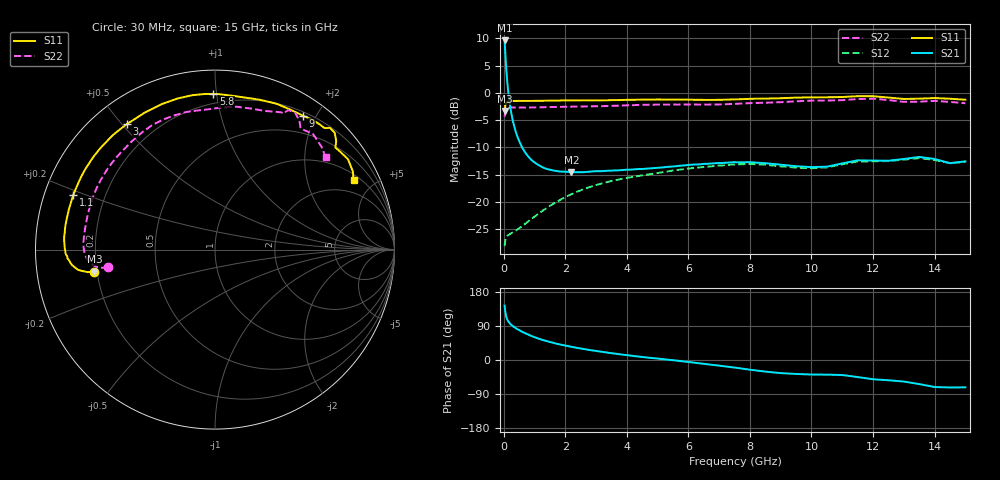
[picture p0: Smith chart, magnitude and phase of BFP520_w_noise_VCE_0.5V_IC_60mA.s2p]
! Infineon Technologies  Discrete & RF Semiconductors
! BFP520
! VCE =  0.5 V,  IC =  60 mA
! Common Emitter S-Parameters:  Oct 2015
# GHz  S  MA  R  50
!  f  S11  S21  S12  S22
! GHz  MAG  ANG  MAG  ANG  MAG  ANG  MAG  ANG
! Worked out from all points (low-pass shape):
!   109 points, 30 MHz to 15 GHz, reference 50 ohm
!   highest |S21| = 9.63 dB at 30 MHz (marker M1); lowest = -14.6 dB at 2.2 GHz (marker M2)
!   |S21| within 3 dB of the highest: start of sweep to 60.11 MHz
!   lowest |S11| = -3.3 dB at 30 MHz (marker M3), VSWR 5.32, Z = 9.47 - j4.39 ohm
!   |S11| at or under -10 dB: nowhere
!   |S22| runs from -4.4 to -1.1 dB; largest |S21 - S12| = 3.1
!   S11 on the Smith chart (normalised r, x): 30 MHz: 0.19, -0.09; 1.1 GHz: 0.09, +0.19; 3 GHz: 0.10, +0.52; 5.8 GHz: 0.14, +0.98; 9 GHz: 0.25, +1.83; 15 GHz: 1.23, +3.82
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0.03  0.6836 -169.6  3.029 143.5  0.0391 14.0  0.603 -170.7
0.04  0.7217 -170.0  2.692 135.2  0.0416 14.4  0.6347 -170.8
0.05  0.7538 -171.0  2.39 129.0  0.0437 14.1  0.6598 -171.4
0.06  0.772 -171.6  2.147 123.5  0.0449 13.5  0.6775 -172.3
0.08  0.8008 -173.8  1.727 115.4  0.0469 12.6  0.7005 -174.1
0.11  0.8188 -176.2  1.33 107.7  0.0482 12.1  0.7172 -176.3
0.15  0.8326 -178.5  1.014 101.8  0.0494 12.2  0.7265 -178.4
0.25  0.8401 177.6  0.644 92.7  0.0514 14.5  0.7333 178.1
0.4  0.8424 173.4  0.432 83.7  0.0545 18.8  0.7337 174.5
0.7  0.8436 166.8  0.283 70.6  0.0627 25.9  0.733 168.9
1.1  0.8458 158.8  0.22 57.3  0.0765 30.8  0.7359 162.6
2.2  0.853 138.5  0.187 34.8  0.1172 29.0  0.7467 146.1
2.6  0.8549 131.6  0.187 29.1  0.1306 26.0  0.7503 140.1
3  0.8543 125.1  0.191 23.9  0.1424 22.4  0.7536 134.2
5.1  0.8689 97.3  0.206 2.9  0.1855 3.9  0.7798 110.9
5.8  0.8669 90.6  0.215 -3.4  0.1985 -2.6  0.7815 103.8
7.6  0.8731 71.9  0.23 -21.1  0.2207 -20.2  0.7948 86.2
9  0.8927 56.6  0.219 -34.6  0.2115 -34.1  0.821 70.2
10.5  0.911 48.2  0.21 -38.6  0.2068 -37.8  0.8498 63.2
12  0.9317 44.3  0.239 -50.8  0.2353 -50.0  0.8851 59.8
13  0.8791 40.3  0.247 -56.8  0.2437 -57.1  0.8268 54.8
15  0.8652 26.8  0.235 -72.2  0.2325 -72.6  0.8032 39.8
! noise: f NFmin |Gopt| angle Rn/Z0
0.45  3.65  0.26  -160  0.32
0.9  3.65  0.28  -151  0.34
1.9  3.9  0.37  -130  0.47
2.4  3.98  0.38  -127  0.44
3.5  4.15  0.37  -112  0.61
